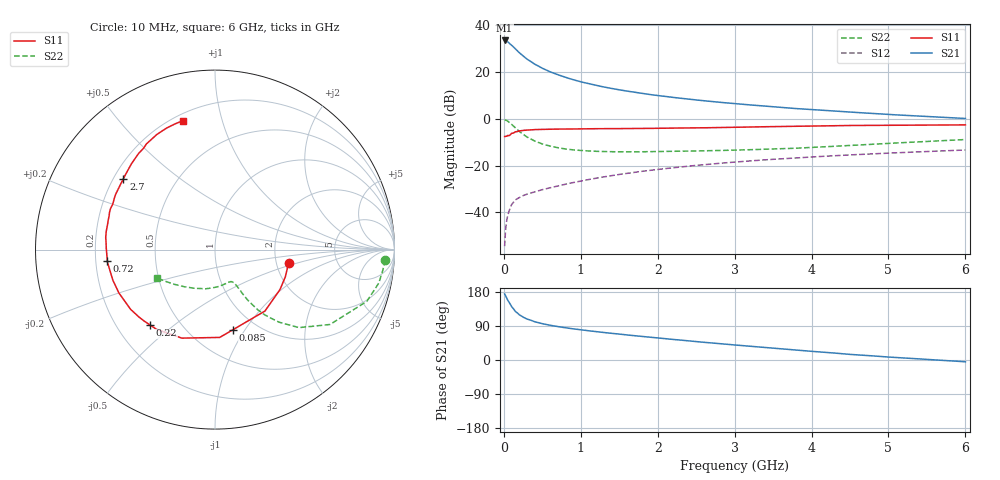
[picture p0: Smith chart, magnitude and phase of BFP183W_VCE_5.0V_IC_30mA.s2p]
! Infineon Technologies  Discrete & RF Semiconductors
! BFP183W
! VCE = 5.0 V,  IC =  30 mA
! Common Emitter S-Parameters:  Jan 2016
# GHz  S  MA  R  50
!  f  S11  S21  S12  S22
! GHz  MAG  ANG  MAG  ANG  MAG  ANG  MAG  ANG
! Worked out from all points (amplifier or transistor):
!   210 points, 10 MHz to 6 GHz, reference 50 ohm
!   highest |S21| = 33.5 dB at 10 MHz (marker M1)
!   |S21| within 3 dB of that: start of sweep to 131.5 MHz
!   unconditionally stable (mu >= 1): 794.7 MHz to 4.95 GHz
!   at 185 MHz: K = 0.42, MSG = 31.3 dB, |S12| = -33.9 dB
!   at 1.52 GHz: K = 1.14, MAG = 15.7 dB, |S12| = -23.7 dB
!   at 6 GHz: K = 0.96, MSG = 6.7 dB, |S12| = -13.3 dB
!   S11 on the Smith chart (normalised r, x): 10 MHz: 2.33, -0.43; 85 MHz: 0.79, -0.89; 220 MHz: 0.34, -0.41; 720 MHz: 0.25, -0.05; 2.7 GHz: 0.24, +0.32; 6 GHz: 0.24, +0.76
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0.01  0.4167 -10.5  47.1 174.3  0.0019 87.6  0.9512 -3.5
0.03  0.425 -31.6  46.34 166.5  0.0056 81.0  0.9317 -11.5
0.05  0.4412 -50.9  44.22 158.0  0.0085 75.0  0.8939 -18.8
0.085  0.4568 -77.1  39.21 146.7  0.0127 63.6  0.7977 -28.3
0.1  0.49 -86.9  37.62 141.0  0.0146 60.8  0.7644 -33.1
0.15  0.5266 -110.5  31.16 128.2  0.0185 54.0  0.6382 -42.9
0.2  0.5509 -126.3  25.86 119.5  0.0208 50.8  0.539 -48.6
0.22  0.5543 -130.6  24.27 117.2  0.0216 49.9  0.5093 -50.0
0.26  0.5665 -138.6  21.33 112.2  0.0232 48.6  0.4539 -52.8
0.3  0.576 -144.7  18.85 108.2  0.0245 48.3  0.4087 -54.7
0.4  0.5874 -155.7  14.7 101.0  0.0274 48.6  0.3349 -57.1
0.5  0.594 -163.3  12 95.6  0.0306 51.0  0.2895 -58.0
0.6  0.5976 -169.0  10.09 91.5  0.0335 52.0  0.2602 -58.4
0.72  0.6031 -174.2  8.538 87.5  0.0375 54.1  0.238 -59.0
1.02  0.6082 176.1  6.053 79.2  0.0473 57.4  0.2095 -60.8
1.4  0.6147 166.6  4.442 70.3  0.0612 59.1  0.198 -64.8
2.02  0.6276 154.1  3.11 57.8  0.0834 58.4  0.199 -74.4
2.7  0.6455 142.2  2.341 45.0  0.1081 55.5  0.2086 -87.7
3.1  0.6623 135.7  2.041 38.0  0.1224 53.1  0.2162 -96.6
4.1  0.7046 121.7  1.538 21.4  0.156 46.7  0.2484 -120.7
5.1  0.7298 110.9  1.212 6.6  0.1876 40.0  0.3042 -141.4
6  0.7406 103.9  1.015 -4.8  0.2152 34.5  0.3601 -154.1
